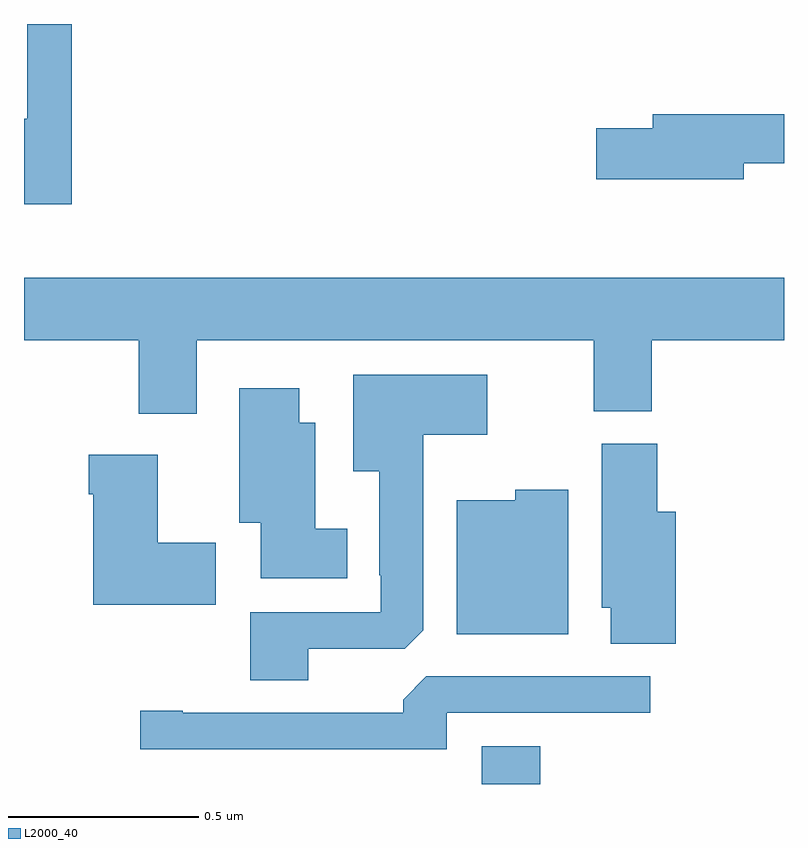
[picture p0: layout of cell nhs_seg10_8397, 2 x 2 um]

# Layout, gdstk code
import gdstk
lib = gdstk.Library(unit=1e-6, precision=1e-09)
def R(c, l, rs):  # rectangles x0, y0, x1, y1
    for r in rs: c.add(gdstk.rectangle(r[:2], r[2:], *l))
def P(c, l, *ps):  # polygons
    for p in ps: c.add(gdstk.Polygon(p, *l))
L2000_40 = (2000, 40)

nhs_seg10_8397 = lib.new_cell('nhs_seg10_8397')
R(nhs_seg10_8397, L2000_40, [(217.205,1280.5,217.358,1280.599)])
P(nhs_seg10_8397, L2000_40, [(216.125,1282.5),(216.009,1282.5),(216.009,1282.251),(216,1282.251),(216,1282.026),(216.125,1282.026)],
  [(217.894,1282.134),(218,1282.134),(218,1282.262),(217.655,1282.262),(217.655,1282.226),(217.506,1282.226),(217.506,1282.091),(217.894,1282.091)],
  [(216.454,1281.668),(217.499,1281.668),(217.499,1281.481),(217.652,1281.481),(217.652,1281.668),(218,1281.668),(218,1281.832),(216,1281.832),(216,1281.668),(216.302,1281.668),(216.302,1281.474),(216.454,1281.474)],
  [(216.748,1280.856),(217.002,1280.856),(217.051,1280.905),(217.051,1281.419),(217.219,1281.419),(217.219,1281.577),(216.866,1281.577),(216.866,1281.323),(216.935,1281.323),(216.935,1281.049),(216.939,1281.049),(216.939,1280.952),(216.596,1280.952),(216.596,1280.773),(216.748,1280.773)],
  [(216.85,1281.172),(216.766,1281.172),(216.766,1281.451),(216.724,1281.451),(216.724,1281.541),(216.566,1281.541),(216.566,1281.188),(216.623,1281.188),(216.623,1281.041),(216.85,1281.041)],
  [(217.715,1281.217),(217.667,1281.217),(217.667,1281.396),(217.52,1281.396),(217.52,1280.964),(217.544,1280.964),(217.544,1280.869),(217.715,1280.869)],
  [(216.505,1281.135),(216.352,1281.135),(216.352,1281.367),(216.17,1281.367),(216.17,1281.263),(216.182,1281.263),(216.182,1280.972),(216.505,1280.972)],
  [(217.432,1281.274),(217.293,1281.274),(217.293,1281.247),(217.139,1281.247),(217.139,1280.894),(217.432,1280.894)],
  [(217.113,1280.688),(217.648,1280.688),(217.648,1280.784),(217.059,1280.784),(216.998,1280.722),(216.998,1280.688),(216.418,1280.688),(216.418,1280.693),(216.306,1280.693),(216.306,1280.592),(217.113,1280.592)])

lib.write_gds('nhs_seg10_8397.gds')
